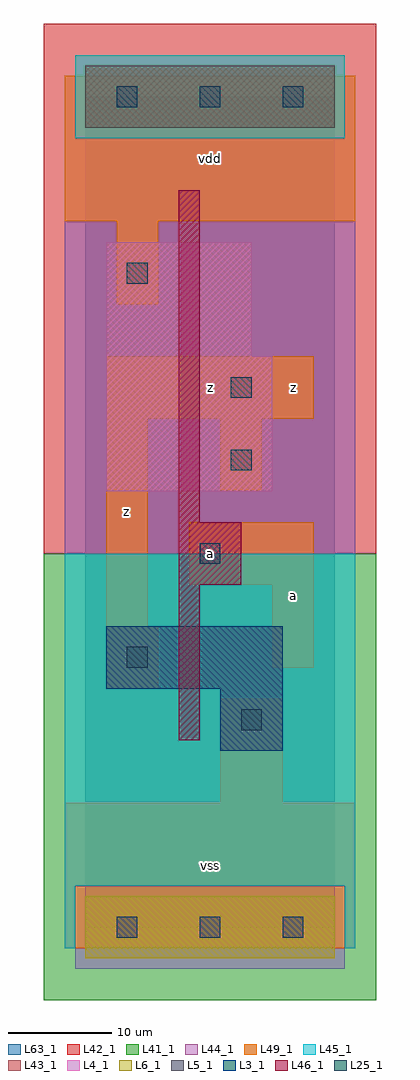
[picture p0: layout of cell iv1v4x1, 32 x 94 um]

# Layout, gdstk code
import gdstk
lib = gdstk.Library(unit=1e-6, precision=1e-09)
def R(c, l, rs):  # rectangles x0, y0, x1, y1
    for r in rs: c.add(gdstk.rectangle(r[:2], r[2:], *l))
def A(c, l, x, y, w, h, nx, ny, dx, dy):  # array of equal rectangles
    R(c, l, [(x+i*dx, y+j*dy, x+i*dx+w, y+j*dy+h) for i in range(nx) for j in range(ny)])
L3_1 = (3, 1)
L4_1 = (4, 1)
L5_1 = (5, 1)
L6_1 = (6, 1)
L25_1 = (25, 1)
L41_1 = (41, 1)
L42_1 = (42, 1)
L43_1 = (43, 1)
L44_1 = (44, 1)
L45_1 = (45, 1)
L46_1 = (46, 1)
L49_1 = (49, 1)
L63_1 = (63, 1)

iv1v4x1 = lib.new_cell('iv1v4x1')
R(iv1v4x1, L3_1, [(13,17,19,23), (2,23,19,29)])
R(iv1v4x1, L4_1, [(2,42,18,55), (2,55,16,66)])
R(iv1v4x1, L5_1, [(0,77,24,83)])
R(iv1v4x1, L6_1, [(0,-3,24,3), (0,-3,24,3)])
A(iv1v4x1, L25_1, 3, -1, 2, 2, 3, 2, 8, 80)
R(iv1v4x1, L25_1, [(15,19,17,21), (4,25,6,27), (11,35,13,37), (14,44,16,46), (14,51,16,53), (4,62,6,64)])
R(iv1v4x1, L41_1, [(-4,-7,28,36)])
R(iv1v4x1, L42_1, [(-4,36,28,87)])
R(iv1v4x1, L43_1, [(0,-3,24,3), (13,17,19,23), (2,23,19,29), (2,42,18,55), (2,55,16,66), (0,77,24,83)])
R(iv1v4x1, L44_1, [(-1,-4,25,4), (-2,36,26,76), (-2,76,-1,82), (25,76,26,82)])
R(iv1v4x1, L45_1, [(-2,-2,-1,4), (25,-2,26,4), (-2,4,26,36), (-1,76,25,84)])
R(iv1v4x1, L46_1, [(9,18,11,33), (9,33,15,39), (9,39,11,71)])
R(iv1v4x1, L49_1, [(-2,-2,26,12), (13,12,19,22), (2,23,7,29), (18,25,22,33), (2,29,6,49), (10,33,22,39), (13,42,17,49), (2,49,22,55), (3,60,7,68), (-2,68,26,82)])
R(iv1v4x1, L63_1, [(0,0,24,80)])
iv1v4x1.add(gdstk.Label('z', (4,40), layer=49, texttype=1))
iv1v4x1.add(gdstk.Label('vss', (12,6), layer=49, texttype=1))
iv1v4x1.add(gdstk.Label('a', (12,36), layer=49, texttype=1))
iv1v4x1.add(gdstk.Label('z', (12,52), layer=49, texttype=1))
iv1v4x1.add(gdstk.Label('vdd', (12,74), layer=49, texttype=1))
iv1v4x1.add(gdstk.Label('a', (20,32), layer=49, texttype=1))
iv1v4x1.add(gdstk.Label('z', (20,52), layer=49, texttype=1))

lib.write_gds('iv1v4x1.gds')
